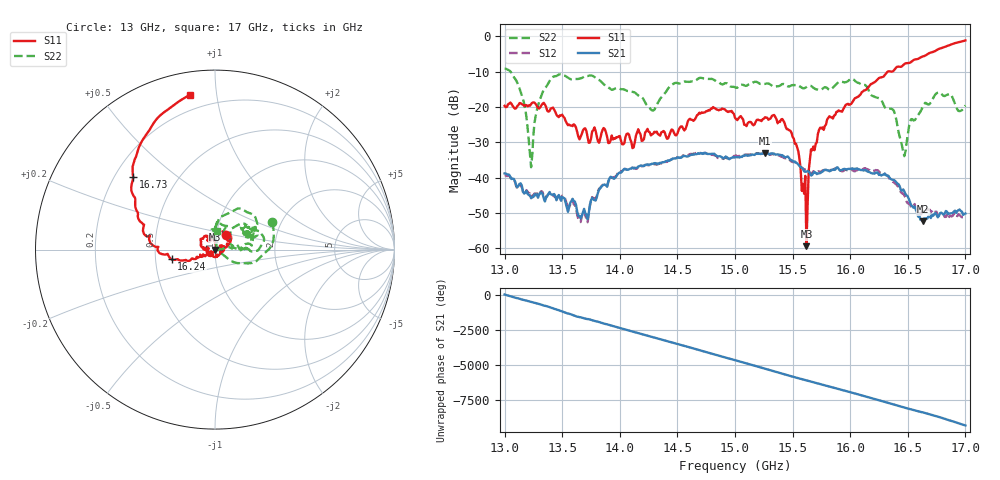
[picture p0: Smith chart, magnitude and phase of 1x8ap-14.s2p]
!Keysight Technologies,P9374A,MY57211807,A.19.30.04
!Date: Friday, May 08, 2026 15:40:04
!Correction: S11(C  2-Port  )
!S21(C  2-Port  )
!S12(C  2-Port  )
!S22(C  2-Port  )
!S2P File: Measurements: S11, S21, S12, S22:
# Hz S  dB  R 50
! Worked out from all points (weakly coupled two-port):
!   401 points, 13 GHz to 17 GHz, reference 50 ohm
!   highest |S21| = -33.00 dB at 15.26 GHz (marker M1); lowest = -52.4 dB at 16.63 GHz (marker M2)
!   lowest |S11| = -59.4 dB at 15.62 GHz (marker M3), VSWR 1.00, Z = 50.1 + j0.035 ohm
!   |S11| at or under -10 dB: start of sweep to 16.33 GHz; 16.35845 GHz to 16.36104 GHz (2.584 MHz wide, 0.0158 % of centre)
!   |S22| runs from -37.0 to -9.1 dB; largest |S21 - S12| = 0.0016
!   S11 on the Smith chart (normalised r, x): 13 GHz: 1.11, +0.19; 16.24 GHz: 0.61, -0.07; 16.73 GHz: 0.27, +0.35; 17 GHz: 0.12, +0.84
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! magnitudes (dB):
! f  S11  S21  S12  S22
! 13 GHz  -19.7  -38.8  -39.3  -9.1
! 13.14 GHz  -19.0  -41.6  -42.3  -15.8
! 13.23 GHz  -19.2  -45.8  -45.5  -37.0
! 13.29 GHz  -20.3  -45.7  -45.2  -19.6
! 13.4 GHz  -20.4  -44.7  -44.5  -12.1
! 13.67 GHz  -27.6  -50.8  -51.0  -11.8
! 14 GHz  -28.2  -38.5  -38.2  -14.9
! 14.34 GHz  -27.9  -36.0  -36.1  -18.2
! 14.7 GHz  -21.9  -33.1  -33.0  -11.7
! 15 GHz  -23.1  -34.3  -33.8  -14.4
! 15.26 GHz  -22.9  -33.0  -33.0  -13.5
! 15.49 GHz  -27.2  -35.0  -35.4  -13.9
! 15.62 GHz  -59.4  -38.3  -37.7  -14.4
! 15.67 GHz  -32.3  -39.2  -38.7  -14.3
! 15.82 GHz  -22.6  -38.2  -38.2  -15.2
! 16.02 GHz  -18.5  -37.3  -37.9  -12.0
! 16.24 GHz  -12.1  -38.6  -37.9  -17.4
! 16.34 GHz  -9.9  -39.9  -40.3  -20.4
! 16.47 GHz  -7.9  -43.9  -45.0  -33.9
! 16.63 GHz  -5.7  -52.4  -49.5  -20.0
! 16.73 GHz  -4.3  -50.4  -49.6  -16.9
! 17 GHz  -1.2  -50.1  -51.5  -19.6
